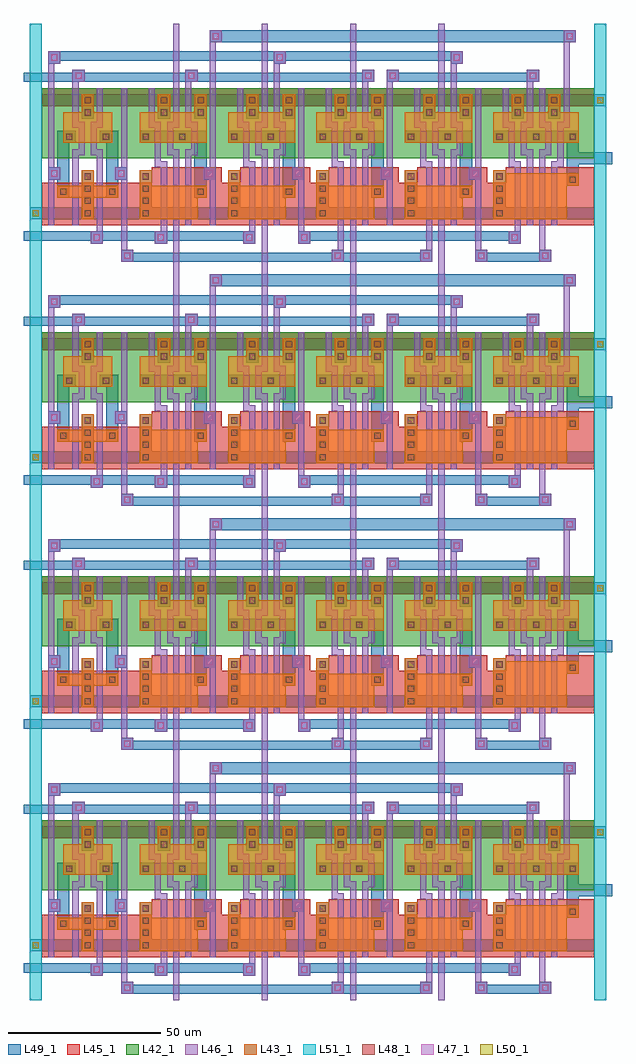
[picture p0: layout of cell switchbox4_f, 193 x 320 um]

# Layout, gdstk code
import gdstk
lib = gdstk.Library(unit=1e-6, precision=1e-09)
def R(c, l, rs):  # rectangles x0, y0, x1, y1
    for r in rs: c.add(gdstk.rectangle(r[:2], r[2:], *l))
def A(c, l, x, y, w, h, nx, ny, dx, dy):  # array of equal rectangles
    R(c, l, [(x+i*dx, y+j*dy, x+i*dx+w, y+j*dy+h) for i in range(nx) for j in range(ny)])
L42_1 = (42, 1)
L43_1 = (43, 1)
L45_1 = (45, 1)
L46_1 = (46, 1)
L47_1 = (47, 1)
L48_1 = (48, 1)
L49_1 = (49, 1)
L50_1 = (50, 1)
L51_1 = (51, 1)

switchbox4_f = lib.new_cell('switchbox4_f')
A(switchbox4_f, L42_1, 6, 36, 30, 23, 1, 4, 0, 80)
A(switchbox4_f, L42_1, 33, 36, 32, 23, 4, 4, 29, 80)
A(switchbox4_f, L42_1, 149, 36, 38, 23, 1, 4, 0, 80)
A(switchbox4_f, L43_1, 19, 16, 4, 7, 1, 4, 0, 80)
A(switchbox4_f, L43_1, 38, 16, 19, 7, 4, 4, 29, 80)
A(switchbox4_f, L43_1, 154, 16, 24, 11, 1, 4, 0, 80)
A(switchbox4_f, L43_1, 11, 23, 20, 4, 1, 4, 0, 80)
A(switchbox4_f, L43_1, 38, 23, 22, 4, 4, 4, 29, 80)
A(switchbox4_f, L43_1, 19, 27, 4, 5, 1, 4, 0, 80)
A(switchbox4_f, L43_1, 38, 27, 4, 5, 4, 4, 29, 80)
A(switchbox4_f, L43_1, 154, 27, 28, 4, 1, 4, 0, 80)
A(switchbox4_f, L43_1, 154, 31, 4, 1, 1, 4, 0, 80)
A(switchbox4_f, L43_1, 13, 41, 16, 10, 1, 4, 0, 80)
A(switchbox4_f, L43_1, 38, 41, 22, 10, 4, 4, 29, 80)
A(switchbox4_f, L43_1, 154, 41, 28, 10, 1, 4, 0, 80)
A(switchbox4_f, L43_1, 19, 51, 4, 6, 1, 4, 0, 80)
A(switchbox4_f, L43_1, 44, 51, 4, 6, 1, 4, 0, 80)
A(switchbox4_f, L43_1, 56, 51, 4, 6, 1, 4, 0, 80)
A(switchbox4_f, L43_1, 73, 51, 4, 6, 1, 4, 0, 80)
A(switchbox4_f, L43_1, 85, 51, 4, 6, 1, 4, 0, 80)
A(switchbox4_f, L43_1, 102, 51, 4, 6, 1, 4, 0, 80)
A(switchbox4_f, L43_1, 114, 51, 4, 6, 1, 4, 0, 80)
A(switchbox4_f, L43_1, 131, 51, 4, 6, 1, 4, 0, 80)
A(switchbox4_f, L43_1, 143, 51, 4, 6, 1, 4, 0, 80)
A(switchbox4_f, L43_1, 160, 51, 4, 6, 1, 4, 0, 80)
A(switchbox4_f, L43_1, 172, 51, 4, 6, 1, 4, 0, 80)
A(switchbox4_f, L45_1, 6, 14, 30, 14, 1, 4, 0, 80)
A(switchbox4_f, L45_1, 33, 14, 32, 14, 4, 4, 29, 80)
A(switchbox4_f, L45_1, 149, 14, 38, 14, 1, 4, 0, 80)
A(switchbox4_f, L45_1, 42, 28, 23, 5, 4, 4, 29, 80)
A(switchbox4_f, L45_1, 158, 28, 29, 5, 1, 4, 0, 80)
A(switchbox4_f, L45_1, 6, 53, 30, 6, 1, 4, 0, 80)
A(switchbox4_f, L45_1, 33, 53, 32, 6, 4, 4, 29, 80)
A(switchbox4_f, L45_1, 149, 53, 38, 6, 1, 4, 0, 80)
A(switchbox4_f, L46_1, 49, 0, 2, 14, 4, 4, 29, 80)
A(switchbox4_f, L46_1, 32, 2, 4, 4, 1, 4, 0, 80)
A(switchbox4_f, L46_1, 101, 2, 4, 4, 1, 4, 0, 80)
A(switchbox4_f, L46_1, 130, 2, 4, 4, 1, 4, 0, 80)
A(switchbox4_f, L46_1, 148, 2, 4, 4, 1, 4, 0, 80)
A(switchbox4_f, L46_1, 169, 2, 4, 4, 1, 4, 0, 80)
A(switchbox4_f, L46_1, 32, 6, 2, 8, 1, 4, 0, 80)
A(switchbox4_f, L46_1, 103, 6, 2, 8, 1, 4, 0, 80)
A(switchbox4_f, L46_1, 132, 6, 2, 8, 1, 4, 0, 80)
A(switchbox4_f, L46_1, 148, 6, 2, 8, 1, 4, 0, 80)
A(switchbox4_f, L46_1, 169, 6, 2, 8, 1, 4, 0, 80)
A(switchbox4_f, L46_1, 22, 8, 4, 4, 1, 4, 0, 80)
A(switchbox4_f, L46_1, 43, 8, 4, 4, 1, 4, 0, 80)
A(switchbox4_f, L46_1, 72, 8, 4, 4, 1, 4, 0, 80)
A(switchbox4_f, L46_1, 90, 8, 4, 4, 1, 4, 0, 80)
A(switchbox4_f, L46_1, 159, 8, 4, 4, 1, 4, 0, 80)
A(switchbox4_f, L46_1, 24, 12, 2, 2, 1, 4, 0, 80)
A(switchbox4_f, L46_1, 45, 12, 2, 2, 1, 4, 0, 80)
A(switchbox4_f, L46_1, 74, 12, 2, 2, 1, 4, 0, 80)
A(switchbox4_f, L46_1, 161, 12, 2, 2, 1, 4, 0, 80)
A(switchbox4_f, L46_1, 8, 14, 2, 2, 4, 2, 8, 43)
A(switchbox4_f, L46_1, 8, 14, 2, 15, 1, 4, 0, 80)
A(switchbox4_f, L46_1, 16, 14, 2, 23, 1, 4, 0, 80)
A(switchbox4_f, L46_1, 24, 14, 2, 23, 1, 4, 0, 80)
A(switchbox4_f, L46_1, 32, 14, 2, 15, 5, 4, 29, 80)
A(switchbox4_f, L46_1, 45, 14, 2, 2, 3, 4, 4, 80)
A(switchbox4_f, L46_1, 45, 14, 2, 19, 5, 4, 29, 80)
A(switchbox4_f, L46_1, 49, 14, 2, 23, 1, 4, 0, 80)
A(switchbox4_f, L46_1, 53, 14, 2, 23, 1, 4, 0, 80)
A(switchbox4_f, L46_1, 74, 14, 2, 2, 3, 4, 4, 80)
A(switchbox4_f, L46_1, 78, 14, 2, 23, 1, 4, 0, 80)
A(switchbox4_f, L46_1, 82, 14, 2, 23, 1, 4, 0, 80)
A(switchbox4_f, L46_1, 103, 14, 2, 2, 3, 4, 4, 80)
A(switchbox4_f, L46_1, 107, 14, 2, 23, 1, 4, 0, 80)
A(switchbox4_f, L46_1, 111, 14, 2, 23, 1, 4, 0, 80)
A(switchbox4_f, L46_1, 132, 14, 2, 2, 3, 4, 4, 80)
A(switchbox4_f, L46_1, 136, 14, 2, 23, 1, 4, 0, 80)
A(switchbox4_f, L46_1, 140, 14, 2, 23, 1, 4, 0, 80)
A(switchbox4_f, L46_1, 161, 14, 2, 2, 4, 4, 4, 80)
A(switchbox4_f, L46_1, 165, 14, 2, 23, 1, 4, 0, 80)
A(switchbox4_f, L46_1, 169, 14, 2, 23, 1, 4, 0, 80)
A(switchbox4_f, L46_1, 173, 14, 2, 19, 1, 4, 0, 80)
A(switchbox4_f, L46_1, 30, 29, 4, 4, 5, 4, 29, 80)
A(switchbox4_f, L46_1, 8, 33, 2, 26, 1, 4, 0, 80)
A(switchbox4_f, L46_1, 32, 33, 2, 26, 5, 4, 29, 80)
A(switchbox4_f, L46_1, 43, 33, 4, 2, 5, 4, 29, 80)
A(switchbox4_f, L46_1, 173, 33, 4, 2, 1, 4, 0, 80)
A(switchbox4_f, L46_1, 43, 35, 2, 1, 5, 2, 29, 1)
A(switchbox4_f, L46_1, 175, 35, 2, 11, 1, 4, 0, 80)
A(switchbox4_f, L46_1, 43, 37, 2, 9, 5, 4, 29, 80)
A(switchbox4_f, L46_1, 47, 37, 4, 2, 1, 4, 0, 80)
A(switchbox4_f, L46_1, 53, 37, 4, 2, 1, 4, 0, 80)
A(switchbox4_f, L46_1, 76, 37, 4, 2, 1, 4, 0, 80)
A(switchbox4_f, L46_1, 82, 37, 4, 2, 1, 4, 0, 80)
A(switchbox4_f, L46_1, 105, 37, 4, 2, 1, 4, 0, 80)
A(switchbox4_f, L46_1, 111, 37, 4, 2, 1, 4, 0, 80)
A(switchbox4_f, L46_1, 134, 37, 4, 2, 1, 4, 0, 80)
A(switchbox4_f, L46_1, 140, 37, 4, 2, 1, 4, 0, 80)
A(switchbox4_f, L46_1, 163, 37, 4, 2, 1, 4, 0, 80)
A(switchbox4_f, L46_1, 169, 37, 4, 2, 1, 4, 0, 80)
A(switchbox4_f, L46_1, 18, 39, 2, 7, 1, 4, 0, 80)
A(switchbox4_f, L46_1, 22, 39, 2, 7, 1, 4, 0, 80)
A(switchbox4_f, L46_1, 47, 39, 2, 7, 1, 4, 0, 80)
A(switchbox4_f, L46_1, 55, 39, 2, 7, 1, 4, 0, 80)
A(switchbox4_f, L46_1, 76, 39, 2, 7, 1, 4, 0, 80)
A(switchbox4_f, L46_1, 84, 39, 2, 7, 1, 4, 0, 80)
A(switchbox4_f, L46_1, 105, 39, 2, 7, 1, 4, 0, 80)
A(switchbox4_f, L46_1, 113, 39, 2, 7, 1, 4, 0, 80)
A(switchbox4_f, L46_1, 134, 39, 2, 7, 1, 4, 0, 80)
A(switchbox4_f, L46_1, 142, 39, 2, 7, 1, 4, 0, 80)
A(switchbox4_f, L46_1, 163, 39, 2, 7, 1, 4, 0, 80)
A(switchbox4_f, L46_1, 171, 39, 2, 7, 1, 4, 0, 80)
A(switchbox4_f, L46_1, 41, 46, 4, 2, 3, 4, 6, 80)
A(switchbox4_f, L46_1, 70, 46, 4, 2, 3, 4, 6, 80)
A(switchbox4_f, L46_1, 99, 46, 4, 2, 3, 4, 6, 80)
A(switchbox4_f, L46_1, 128, 46, 4, 2, 3, 4, 6, 80)
A(switchbox4_f, L46_1, 157, 46, 4, 2, 4, 4, 6, 80)
A(switchbox4_f, L46_1, 16, 48, 2, 11, 1, 4, 0, 80)
A(switchbox4_f, L46_1, 24, 48, 2, 11, 1, 4, 0, 80)
A(switchbox4_f, L46_1, 41, 48, 2, 11, 1, 4, 0, 80)
A(switchbox4_f, L46_1, 49, 48, 2, 1, 5, 4, 29, 80)
A(switchbox4_f, L46_1, 53, 48, 2, 11, 1, 4, 0, 80)
A(switchbox4_f, L46_1, 70, 48, 2, 11, 1, 4, 0, 80)
A(switchbox4_f, L46_1, 82, 48, 2, 11, 1, 4, 0, 80)
A(switchbox4_f, L46_1, 99, 48, 2, 11, 1, 4, 0, 80)
A(switchbox4_f, L46_1, 111, 48, 2, 11, 1, 4, 0, 80)
A(switchbox4_f, L46_1, 128, 48, 2, 11, 1, 4, 0, 80)
A(switchbox4_f, L46_1, 140, 48, 2, 11, 1, 4, 0, 80)
A(switchbox4_f, L46_1, 157, 48, 2, 11, 1, 4, 0, 80)
A(switchbox4_f, L46_1, 169, 48, 2, 11, 1, 4, 0, 80)
A(switchbox4_f, L46_1, 177, 48, 2, 11, 1, 4, 0, 80)
A(switchbox4_f, L46_1, 49, 49, 2, 10, 5, 4, 29, 80)
A(switchbox4_f, L46_1, 41, 57, 2, 2, 1, 4, 0, 80)
A(switchbox4_f, L46_1, 70, 57, 2, 2, 1, 4, 0, 80)
A(switchbox4_f, L46_1, 82, 57, 2, 2, 1, 4, 0, 80)
A(switchbox4_f, L46_1, 99, 57, 2, 2, 1, 4, 0, 80)
A(switchbox4_f, L46_1, 128, 57, 2, 2, 1, 4, 0, 80)
A(switchbox4_f, L46_1, 140, 57, 2, 2, 1, 4, 0, 80)
A(switchbox4_f, L46_1, 157, 57, 2, 2, 1, 4, 0, 80)
A(switchbox4_f, L46_1, 169, 57, 2, 2, 1, 4, 0, 80)
A(switchbox4_f, L46_1, 177, 57, 2, 2, 1, 4, 0, 80)
A(switchbox4_f, L46_1, 8, 59, 2, 8, 1, 4, 0, 80)
A(switchbox4_f, L46_1, 16, 59, 2, 2, 1, 4, 0, 80)
A(switchbox4_f, L46_1, 49, 59, 2, 21, 4, 4, 29, 80)
A(switchbox4_f, L46_1, 61, 59, 2, 15, 1, 4, 0, 80)
A(switchbox4_f, L46_1, 82, 59, 2, 8, 1, 4, 0, 80)
A(switchbox4_f, L46_1, 140, 59, 2, 8, 1, 4, 0, 80)
A(switchbox4_f, L46_1, 177, 59, 2, 15, 1, 4, 0, 80)
A(switchbox4_f, L46_1, 16, 61, 4, 4, 1, 4, 0, 80)
A(switchbox4_f, L46_1, 53, 61, 4, 4, 1, 4, 0, 80)
A(switchbox4_f, L46_1, 111, 61, 4, 4, 1, 4, 0, 80)
A(switchbox4_f, L46_1, 119, 61, 4, 4, 1, 4, 0, 80)
A(switchbox4_f, L46_1, 165, 61, 4, 4, 1, 4, 0, 80)
A(switchbox4_f, L46_1, 82, 67, 4, 4, 1, 4, 0, 80)
A(switchbox4_f, L46_1, 140, 67, 4, 4, 1, 4, 0, 80)
A(switchbox4_f, L46_1, 61, 74, 4, 4, 1, 4, 0, 80)
A(switchbox4_f, L46_1, 177, 74, 4, 4, 1, 4, 0, 80)
A(switchbox4_f, L46_1, 8, 94, 2, 2, 4, 2, 8, 43)
A(switchbox4_f, L46_1, 43, 115, 2, 1, 5, 2, 29, 1)
A(switchbox4_f, L46_1, 8, 174, 2, 2, 4, 2, 8, 43)
A(switchbox4_f, L46_1, 43, 195, 2, 1, 5, 2, 29, 1)
A(switchbox4_f, L46_1, 8, 254, 2, 2, 4, 2, 8, 43)
A(switchbox4_f, L46_1, 43, 275, 2, 1, 5, 2, 29, 1)
R(switchbox4_f, L46_1, [(49,0,51,2), (49,0,51,2), (49,0,51,2), (49,0,51,2), (49,0,51,2), (49,0,51,2), (78,0,80,2), (78,0,80,2), (78,0,80,2), (78,0,80,2), (78,0,80,2), (78,0,80,2), (107,0,109,2), (107,0,109,2), (107,0,109,2), (107,0,109,2), (107,0,109,2), (107,0,109,2), (136,0,138,2), (136,0,138,2), (136,0,138,2), (136,0,138,2), (136,0,138,2), (136,0,138,2), (90,12,92,14), (61,14,63,16), (90,14,92,16), (119,14,121,16), (148,14,150,16), (8,29,12,33), (16,37,20,39), (22,37,26,39), (16,46,20,48), (22,46,26,48), (49,57,51,59), (53,57,55,59), (61,57,63,59), (78,57,80,59), (90,57,92,59), (107,57,109,59), (111,57,113,59), (119,57,121,59), (136,57,138,59), (148,57,150,59), (165,57,167,59), (53,59,55,61), (111,59,113,61), (119,59,121,61), (165,59,167,61), (8,67,12,71), (49,78,51,80), (49,78,51,80), (78,78,80,80), (78,78,80,80), (107,78,109,80), (107,78,109,80), (136,78,138,80), (136,78,138,80), (49,80,51,82), (49,80,51,82), (78,80,80,82), (78,80,80,82), (107,80,109,82), (107,80,109,82), (136,80,138,82), (136,80,138,82), (90,92,92,94), (61,94,63,96), (90,94,92,96), (119,94,121,96), (148,94,150,96), (8,109,12,113), (16,117,20,119), (22,117,26,119), (16,126,20,128), (22,126,26,128), (49,137,51,139), (53,137,55,139), (61,137,63,139), (78,137,80,139), (90,137,92,139), (107,137,109,139), (111,137,113,139), (119,137,121,139), (136,137,138,139), (148,137,150,139), (165,137,167,139), (53,139,55,141), (111,139,113,141), (119,139,121,141), (165,139,167,141), (8,147,12,151), (49,158,51,160), (49,158,51,160), (78,158,80,160), (78,158,80,160), (107,158,109,160), (107,158,109,160), (136,158,138,160), (136,158,138,160), (49,160,51,162), (49,160,51,162), (78,160,80,162), (78,160,80,162), (107,160,109,162), (107,160,109,162), (136,160,138,162), (136,160,138,162), (90,172,92,174), (61,174,63,176), (90,174,92,176), (119,174,121,176), (148,174,150,176), (8,189,12,193), (16,197,20,199), (22,197,26,199), (16,206,20,208), (22,206,26,208), (49,217,51,219), (53,217,55,219), (61,217,63,219), (78,217,80,219), (90,217,92,219), (107,217,109,219), (111,217,113,219), (119,217,121,219), (136,217,138,219), (148,217,150,219), (165,217,167,219), (53,219,55,221), (111,219,113,221), (119,219,121,221), (165,219,167,221), (8,227,12,231), (49,238,51,240), (49,238,51,240), (78,238,80,240), (78,238,80,240), (107,238,109,240), (107,238,109,240), (136,238,138,240), (136,238,138,240), (49,240,51,242), (49,240,51,242), (78,240,80,242), (78,240,80,242), (107,240,109,242), (107,240,109,242), (136,240,138,242), (136,240,138,242), (90,252,92,254), (61,254,63,256), (90,254,92,256), (119,254,121,256), (148,254,150,256), (8,269,12,273), (16,277,20,279), (22,277,26,279), (16,286,20,288), (22,286,26,288), (49,297,51,299), (53,297,55,299), (61,297,63,299), (78,297,80,299), (90,297,92,299), (107,297,109,299), (111,297,113,299), (119,297,121,299), (136,297,138,299), (148,297,150,299), (165,297,167,299), (53,299,55,301), (111,299,113,301), (119,299,121,301), (165,299,167,301), (8,307,12,311), (49,318,51,320), (49,318,51,320), (49,318,51,320), (49,318,51,320), (49,318,51,320), (49,318,51,320), (78,318,80,320), (78,318,80,320), (78,318,80,320), (78,318,80,320), (78,318,80,320), (78,318,80,320), (107,318,109,320), (107,318,109,320), (107,318,109,320), (107,318,109,320), (107,318,109,320), (107,318,109,320), (136,318,138,320), (136,318,138,320), (136,318,138,320), (136,318,138,320), (136,318,138,320), (136,318,138,320)])
A(switchbox4_f, L47_1, 33, 3, 2, 2, 1, 4, 0, 80)
A(switchbox4_f, L47_1, 102, 3, 2, 2, 1, 4, 0, 80)
A(switchbox4_f, L47_1, 131, 3, 2, 2, 1, 4, 0, 80)
A(switchbox4_f, L47_1, 149, 3, 2, 2, 1, 4, 0, 80)
A(switchbox4_f, L47_1, 170, 3, 2, 2, 1, 4, 0, 80)
A(switchbox4_f, L47_1, 23, 9, 2, 2, 1, 4, 0, 80)
A(switchbox4_f, L47_1, 44, 9, 2, 2, 1, 4, 0, 80)
A(switchbox4_f, L47_1, 73, 9, 2, 2, 1, 4, 0, 80)
A(switchbox4_f, L47_1, 91, 9, 2, 2, 1, 4, 0, 80)
A(switchbox4_f, L47_1, 160, 9, 2, 2, 1, 4, 0, 80)
A(switchbox4_f, L47_1, 31, 30, 2, 2, 5, 4, 29, 80)
A(switchbox4_f, L47_1, 17, 62, 2, 2, 1, 4, 0, 80)
A(switchbox4_f, L47_1, 54, 62, 2, 2, 1, 4, 0, 80)
A(switchbox4_f, L47_1, 112, 62, 2, 2, 1, 4, 0, 80)
A(switchbox4_f, L47_1, 120, 62, 2, 2, 1, 4, 0, 80)
A(switchbox4_f, L47_1, 166, 62, 2, 2, 1, 4, 0, 80)
A(switchbox4_f, L47_1, 83, 68, 2, 2, 1, 4, 0, 80)
A(switchbox4_f, L47_1, 141, 68, 2, 2, 1, 4, 0, 80)
A(switchbox4_f, L47_1, 62, 75, 2, 2, 1, 4, 0, 80)
A(switchbox4_f, L47_1, 178, 75, 2, 2, 1, 4, 0, 80)
R(switchbox4_f, L47_1, [(9,30,11,32), (9,68,11,70), (9,110,11,112), (9,148,11,150), (9,190,11,192), (9,228,11,230), (9,270,11,272), (9,308,11,310)])
A(switchbox4_f, L48_1, 20, 17, 2, 2, 1, 4, 0, 4)
A(switchbox4_f, L48_1, 39, 17, 2, 2, 5, 4, 29, 4)
A(switchbox4_f, L48_1, 12, 24, 2, 2, 1, 4, 0, 80)
A(switchbox4_f, L48_1, 28, 24, 2, 2, 5, 4, 29, 80)
A(switchbox4_f, L48_1, 179, 28, 2, 2, 1, 4, 0, 80)
A(switchbox4_f, L48_1, 14, 42, 2, 2, 1, 4, 0, 80)
A(switchbox4_f, L48_1, 26, 42, 2, 2, 1, 4, 0, 80)
A(switchbox4_f, L48_1, 39, 42, 2, 2, 1, 4, 0, 80)
A(switchbox4_f, L48_1, 51, 42, 2, 2, 1, 4, 0, 80)
A(switchbox4_f, L48_1, 68, 42, 2, 2, 1, 4, 0, 80)
A(switchbox4_f, L48_1, 80, 42, 2, 2, 1, 4, 0, 80)
A(switchbox4_f, L48_1, 97, 42, 2, 2, 1, 4, 0, 80)
A(switchbox4_f, L48_1, 109, 42, 2, 2, 1, 4, 0, 80)
A(switchbox4_f, L48_1, 126, 42, 2, 2, 1, 4, 0, 80)
A(switchbox4_f, L48_1, 138, 42, 2, 2, 1, 4, 0, 80)
A(switchbox4_f, L48_1, 155, 42, 2, 2, 3, 4, 12, 80)
A(switchbox4_f, L48_1, 20, 97, 2, 2, 1, 4, 0, 4)
A(switchbox4_f, L48_1, 39, 97, 2, 2, 5, 4, 29, 4)
A(switchbox4_f, L48_1, 20, 177, 2, 2, 1, 4, 0, 4)
A(switchbox4_f, L48_1, 39, 177, 2, 2, 5, 4, 29, 4)
A(switchbox4_f, L48_1, 20, 257, 2, 2, 1, 4, 0, 4)
A(switchbox4_f, L48_1, 39, 257, 2, 2, 5, 4, 29, 4)
R(switchbox4_f, L48_1, [(20,50,22,52), (45,50,47,52), (57,50,59,52), (74,50,76,52), (86,50,88,52), (103,50,105,52), (115,50,117,52), (132,50,134,52), (144,50,146,52), (161,50,163,52), (173,50,175,52), (20,54,22,56), (45,54,47,56), (57,54,59,56), (74,54,76,56), (86,54,88,56), (103,54,105,56), (115,54,117,56), (132,54,134,56), (144,54,146,56), (161,54,163,56), (173,54,175,56), (20,130,22,132), (45,130,47,132), (57,130,59,132), (74,130,76,132), (86,130,88,132), (103,130,105,132), (115,130,117,132), (132,130,134,132), (144,130,146,132), (161,130,163,132), (173,130,175,132), (20,134,22,136), (45,134,47,136), (57,134,59,136), (74,134,76,136), (86,134,88,136), (103,134,105,136), (115,134,117,136), (132,134,134,136), (144,134,146,136), (161,134,163,136), (173,134,175,136), (20,210,22,212), (45,210,47,212), (57,210,59,212), (74,210,76,212), (86,210,88,212), (103,210,105,212), (115,210,117,212), (132,210,134,212), (144,210,146,212), (161,210,163,212), (173,210,175,212), (20,214,22,216), (45,214,47,216), (57,214,59,216), (74,214,76,216), (86,214,88,216), (103,214,105,216), (115,214,117,216), (132,214,134,216), (144,214,146,216), (161,214,163,216), (173,214,175,216), (20,290,22,292), (45,290,47,292), (57,290,59,292), (74,290,76,292), (86,290,88,292), (103,290,105,292), (115,290,117,292), (132,290,134,292), (144,290,146,292), (161,290,163,292), (173,290,175,292), (20,294,22,296), (45,294,47,296), (57,294,59,296), (74,294,76,296), (86,294,88,296), (103,294,105,296), (115,294,117,296), (132,294,134,296), (144,294,146,296), (161,294,163,296), (173,294,175,296)])
A(switchbox4_f, L49_1, 32, 2, 102, 3, 1, 4, 0, 80)
A(switchbox4_f, L49_1, 148, 2, 25, 3, 1, 4, 0, 80)
A(switchbox4_f, L49_1, 32, 5, 4, 1, 1, 4, 0, 80)
A(switchbox4_f, L49_1, 101, 5, 4, 1, 1, 4, 0, 80)
A(switchbox4_f, L49_1, 130, 5, 4, 1, 1, 4, 0, 80)
A(switchbox4_f, L49_1, 148, 5, 4, 1, 1, 4, 0, 80)
A(switchbox4_f, L49_1, 169, 5, 4, 1, 1, 4, 0, 80)
A(switchbox4_f, L49_1, 22, 8, 4, 1, 1, 4, 0, 80)
A(switchbox4_f, L49_1, 43, 8, 4, 1, 1, 4, 0, 80)
A(switchbox4_f, L49_1, 72, 8, 4, 1, 1, 4, 0, 80)
A(switchbox4_f, L49_1, 90, 8, 4, 1, 1, 4, 0, 80)
A(switchbox4_f, L49_1, 159, 8, 4, 1, 1, 4, 0, 80)
A(switchbox4_f, L49_1, 0, 9, 3, 3, 3, 1, 3, 0)
A(switchbox4_f, L49_1, 6, 9, 70, 3, 1, 4, 0, 80)
A(switchbox4_f, L49_1, 90, 9, 73, 3, 1, 4, 0, 80)
A(switchbox4_f, L49_1, 2, 16, 4, 4, 1, 4, 0, 80)
A(switchbox4_f, L49_1, 33, 16, 32, 4, 4, 2, 29, 37)
A(switchbox4_f, L49_1, 19, 20, 4, 12, 1, 4, 0, 80)
A(switchbox4_f, L49_1, 38, 20, 4, 12, 5, 4, 29, 80)
A(switchbox4_f, L49_1, 11, 23, 4, 6, 1, 4, 0, 80)
A(switchbox4_f, L49_1, 27, 23, 4, 6, 5, 4, 29, 80)
A(switchbox4_f, L49_1, 178, 27, 4, 7, 1, 4, 0, 80)
A(switchbox4_f, L49_1, 8, 29, 7, 4, 1, 4, 0, 80)
A(switchbox4_f, L49_1, 27, 29, 7, 4, 5, 4, 29, 80)
A(switchbox4_f, L49_1, 11, 33, 4, 8, 1, 4, 0, 80)
A(switchbox4_f, L49_1, 27, 33, 4, 8, 5, 4, 29, 80)
A(switchbox4_f, L49_1, 178, 34, 9, 4, 1, 4, 0, 80)
A(switchbox4_f, L49_1, 178, 38, 4, 3, 1, 4, 0, 80)
A(switchbox4_f, L49_1, 11, 41, 6, 4, 1, 4, 0, 80)
A(switchbox4_f, L49_1, 25, 41, 6, 4, 1, 4, 0, 80)
A(switchbox4_f, L49_1, 38, 41, 22, 4, 4, 4, 29, 80)
A(switchbox4_f, L49_1, 154, 41, 28, 4, 1, 4, 0, 80)
A(switchbox4_f, L49_1, 19, 49, 4, 4, 1, 4, 0, 80)
A(switchbox4_f, L49_1, 44, 49, 4, 4, 1, 4, 0, 80)
A(switchbox4_f, L49_1, 56, 49, 4, 4, 1, 4, 0, 80)
A(switchbox4_f, L49_1, 73, 49, 4, 4, 1, 4, 0, 80)
A(switchbox4_f, L49_1, 85, 49, 4, 4, 1, 4, 0, 80)
A(switchbox4_f, L49_1, 102, 49, 4, 4, 1, 4, 0, 80)
A(switchbox4_f, L49_1, 114, 49, 4, 4, 1, 4, 0, 80)
A(switchbox4_f, L49_1, 131, 49, 4, 4, 1, 4, 0, 80)
A(switchbox4_f, L49_1, 143, 49, 4, 4, 1, 4, 0, 80)
A(switchbox4_f, L49_1, 160, 49, 4, 4, 1, 4, 0, 80)
A(switchbox4_f, L49_1, 172, 49, 4, 4, 1, 4, 0, 80)
A(switchbox4_f, L49_1, 187, 53, 4, 4, 1, 4, 0, 80)
A(switchbox4_f, L49_1, 7, 61, 1, 3, 1, 4, 0, 80)
A(switchbox4_f, L49_1, 9, 61, 106, 3, 1, 4, 0, 80)
A(switchbox4_f, L49_1, 119, 61, 50, 3, 1, 4, 0, 80)
A(switchbox4_f, L49_1, 16, 64, 4, 1, 1, 4, 0, 80)
A(switchbox4_f, L49_1, 53, 64, 4, 1, 1, 4, 0, 80)
A(switchbox4_f, L49_1, 111, 64, 4, 1, 1, 4, 0, 80)
A(switchbox4_f, L49_1, 119, 64, 4, 1, 1, 4, 0, 80)
A(switchbox4_f, L49_1, 165, 64, 4, 1, 1, 4, 0, 80)
A(switchbox4_f, L49_1, 8, 67, 4, 1, 1, 4, 0, 80)
A(switchbox4_f, L49_1, 82, 67, 4, 1, 1, 4, 0, 80)
A(switchbox4_f, L49_1, 140, 67, 4, 1, 1, 4, 0, 80)
A(switchbox4_f, L49_1, 8, 68, 136, 3, 1, 4, 0, 80)
A(switchbox4_f, L49_1, 61, 74, 120, 4, 1, 4, 0, 80)
A(switchbox4_f, L49_1, 33, 96, 32, 4, 4, 2, 29, 37)
A(switchbox4_f, L49_1, 33, 176, 32, 4, 4, 2, 29, 37)
A(switchbox4_f, L49_1, 33, 256, 32, 4, 4, 2, 29, 37)
R(switchbox4_f, L49_1, [(0,9,3,12), (0,9,3,12), (0,9,3,12), (0,9,2,12), (6,16,9,20), (6,16,9,20), (6,16,36,20), (33,16,36,20), (33,16,36,20), (62,16,65,20), (62,16,65,20), (91,16,94,20), (91,16,94,20), (120,16,123,20), (120,16,123,20), (149,16,152,20), (149,16,152,20), (149,16,187,20), (184,16,187,20), (184,16,187,20), (184,34,187,38), (184,34,187,38), (187,34,193,38), (190,34,193,38), (190,34,193,38), (190,34,193,38), (190,34,193,38), (6,53,9,57), (6,53,9,57), (6,53,36,57), (33,53,36,57), (33,53,36,57), (62,53,65,57), (62,53,65,57), (91,53,94,57), (91,53,94,57), (120,53,123,57), (120,53,123,57), (149,53,152,57), (149,53,152,57), (149,53,187,57), (184,53,187,57), (184,53,187,57), (0,61,3,64), (0,61,3,64), (0,61,3,64), (0,61,3,64), (0,61,6,64), (6,61,9,64), (0,89,3,92), (0,89,3,92), (0,89,3,92), (0,89,3,92), (0,89,6,92), (6,89,9,92), (6,96,9,100), (6,96,9,100), (6,96,36,100), (33,96,36,100), (33,96,36,100), (62,96,65,100), (62,96,65,100), (91,96,94,100), (91,96,94,100), (120,96,123,100), (120,96,123,100), (149,96,152,100), (149,96,152,100), (149,96,187,100), (184,96,187,100), (184,96,187,100), (184,114,187,118), (184,114,187,118), (187,114,192,118), (190,114,193,118), (190,114,193,118), (190,114,193,118), (190,114,193,118), (6,133,9,137), (6,133,9,137), (6,133,36,137), (33,133,36,137), (33,133,36,137), (62,133,65,137), (62,133,65,137), (91,133,94,137), (91,133,94,137), (120,133,123,137), (120,133,123,137), (149,133,152,137), (149,133,152,137), (149,133,187,137), (184,133,187,137), (184,133,187,137), (0,141,3,144), (0,141,3,144), (0,141,3,144), (0,141,3,144), (0,141,6,144), (6,141,9,144), (0,169,3,172), (0,169,3,172), (0,169,3,172), (0,169,3,172), (0,169,6,172), (6,169,9,172), (6,176,9,180), (6,176,9,180), (6,176,36,180), (33,176,36,180), (33,176,36,180), (62,176,65,180), (62,176,65,180), (91,176,94,180), (91,176,94,180), (120,176,123,180), (120,176,123,180), (149,176,152,180), (149,176,152,180), (149,176,187,180), (184,176,187,180), (184,176,187,180), (184,194,187,198), (184,194,187,198), (187,194,193,198), (190,194,193,198), (190,194,193,198), (190,194,193,198), (190,194,193,198), (6,213,9,217), (6,213,9,217), (6,213,36,217), (33,213,36,217), (33,213,36,217), (62,213,65,217), (62,213,65,217), (91,213,94,217), (91,213,94,217), (120,213,123,217), (120,213,123,217), (149,213,152,217), (149,213,152,217), (149,213,187,217), (184,213,187,217), (184,213,187,217), (0,221,3,224), (0,221,3,224), (0,221,3,224), (0,221,3,224), (0,221,6,224), (6,221,9,224), (0,249,3,252), (0,249,3,252), (0,249,3,252), (0,249,3,252), (0,249,6,252), (6,249,9,252), (6,256,9,260), (6,256,9,260), (6,256,36,260), (33,256,36,260), (33,256,36,260), (62,256,65,260), (62,256,65,260), (91,256,94,260), (91,256,94,260), (120,256,123,260), (120,256,123,260), (149,256,152,260), (149,256,152,260), (149,256,187,260), (184,256,187,260), (184,256,187,260), (184,274,187,278), (184,274,187,278), (187,274,193,278), (190,274,193,278), (190,274,193,278), (190,274,193,278), (190,274,193,278), (6,293,9,297), (6,293,9,297), (6,293,36,297), (33,293,36,297), (33,293,36,297), (62,293,65,297), (62,293,65,297), (91,293,94,297), (91,293,94,297), (120,293,123,297), (120,293,123,297), (149,293,152,297), (149,293,152,297), (149,293,187,297), (184,293,187,297), (184,293,187,297), (0,301,3,304), (0,301,3,304), (0,301,3,304), (0,301,3,304), (0,301,6,304), (6,301,9,304)])
A(switchbox4_f, L50_1, 3, 17, 2, 2, 1, 4, 0, 80)
A(switchbox4_f, L50_1, 188, 54, 2, 2, 1, 4, 0, 80)
R(switchbox4_f, L51_1, [(2,0,6,3), (2,0,6,3), (2,0,6,3), (2,0,6,320), (187,0,191,3), (187,0,191,3), (187,0,191,3), (187,0,191,320), (2,317,6,320), (2,317,6,320), (2,317,6,320), (187,317,191,320), (187,317,191,320), (187,317,191,320)])

lib.write_gds('switchbox4_f.gds')
